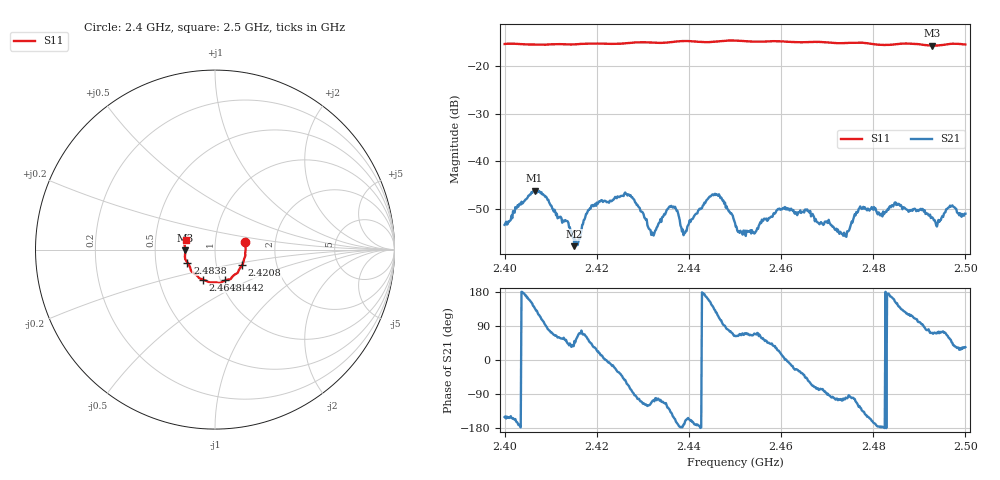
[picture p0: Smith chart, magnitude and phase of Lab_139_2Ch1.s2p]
# Hz S RI R 50
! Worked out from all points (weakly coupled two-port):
!   601 points, 2.4 GHz to 2.5 GHz, reference 50 ohm
!   highest |S21| = -46.18 dB at 2.4065 GHz (marker M1); lowest = -57.8 dB at 2.4152 GHz (marker M2)
!   lowest |S11| = -15.6 dB at 2.4928 GHz (marker M3), VSWR 1.40, Z = 35.8 - j0.338 ohm
!   |S11| at or under -10 dB: start of sweep to end of sweep
!   S12 and S22 are empty: the file has one direction only
!   S11 on the Smith chart (normalised r, x): 2.4 GHz: 1.40, +0.12; 2.4208 GHz: 1.33, -0.24; 2.4442 GHz: 1.05, -0.37; 2.4648 GHz: 0.83, -0.29; 2.4838 GHz: 0.73, -0.11; 2.5 GHz: 0.72, +0.08
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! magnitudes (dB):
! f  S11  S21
! 2.4 GHz  -15.3  -53.3
! 2.4065 GHz  -15.4  -46.2
! 2.4152 GHz  -15.3  -57.8
! 2.4167 GHz  -15.2  -54.7
! 2.4208 GHz  -15.2  -48.3
! 2.4265 GHz  -15.1  -46.9
! 2.4318 GHz  -15.0  -55.5
! 2.4333 GHz  -15.0  -53.2
! 2.4365 GHz  -14.8  -49.7
! 2.439 GHz  -14.6  -55.1
! 2.4442 GHz  -14.9  -47.8
! 2.4467 GHz  -14.7  -47.2
! 2.45 GHz  -14.5  -53.0
! 2.454 GHz  -14.8  -54.9
! 2.4648 GHz  -14.9  -50.6
! 2.4667 GHz  -14.8  -51.1
! 2.4737 GHz  -15.1  -55.0
! 2.4773 GHz  -15.0  -49.7
! 2.4833 GHz  -15.5  -50.1
! 2.4838 GHz  -15.4  -49.6
! 2.4928 GHz  -15.6  -51.8
! 2.5 GHz  -15.4  -51.0
